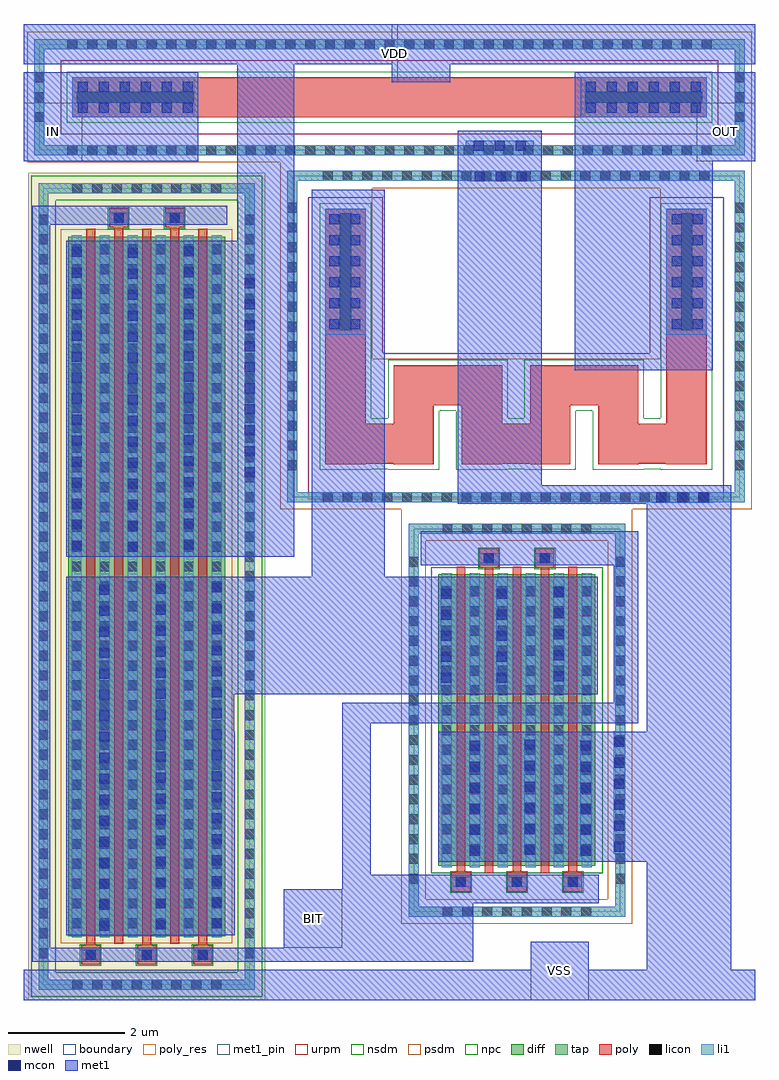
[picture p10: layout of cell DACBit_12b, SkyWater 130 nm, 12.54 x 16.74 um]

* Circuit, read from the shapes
.subckt DACBit_12b BIT IN OUT VDD VSS
XM1 VSS BIT n1 VSS sky130_fd_pr__nfet_01v8 w=5 l=0.15 m=5
XM2 n1 BIT VDD VDD sky130_fd_pr__pfet_01v8 w=12 l=0.15 m=5
XR3 OUT IN VSS sky130_fd_pr__res_xhigh_po w=0.69 l=6.6
XR4 n1 OUT VSS sky130_fd_pr__res_xhigh_po w=0.69 l=13.68
.ends

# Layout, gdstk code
from math import pi, radians
import gdstk
lib = gdstk.Library(unit=1e-6, precision=1e-09)
def R(c, l, rs):  # rectangles x0, y0, x1, y1
    for r in rs: c.add(gdstk.rectangle(r[:2], r[2:], *l))
def A(c, l, x, y, w, h, nx, ny, dx, dy):  # array of equal rectangles
    R(c, l, [(x+i*dx, y+j*dy, x+i*dx+w, y+j*dy+h) for i in range(nx) for j in range(ny)])
nwell = (64, 20)
diff = (65, 20)
tap = (65, 44)
poly_res = (66, 13)
poly = (66, 20)
licon = (66, 44)
li1 = (67, 20)
mcon = (67, 44)
met1_pin = (68, 16)
met1 = (68, 20)
urpm = (79, 20)
nsdm = (93, 44)
psdm = (94, 20)
npc = (95, 20)
boundary = (235, 4)

sky130_fd_pr__res_xhigh_ = lib.new_cell('sky130_fd_pr__res_xhigh_po_0p69_5AX4BB')
R(sky130_fd_pr__res_xhigh_, tap, [(-0.995,-6.09,0.995,-5.92), (-0.995,-5.92,-0.825,5.92), (0.825,-5.92,0.995,5.92), (-0.995,5.92,0.995,6.09)])
R(sky130_fd_pr__res_xhigh_, poly_res, [(-0.345,-3.36,0.345,3.36)])
R(sky130_fd_pr__res_xhigh_, poly, [(-0.345,-5.44,0.345,5.44)])
A(sky130_fd_pr__res_xhigh_, licon, -0.425, -6.09, 0.17, 0.17, 3, 2, 0.34, 12.01)
A(sky130_fd_pr__res_xhigh_, licon, -0.995, -5.525, 0.17, 0.17, 1, 33, 0, 0.34)
A(sky130_fd_pr__res_xhigh_, licon, 0.825, -5.525, 0.17, 0.17, 1, 33, 0, 0.34)
R(sky130_fd_pr__res_xhigh_, licon, [(-0.095,-5.36,0.095,-3.36), (-0.095,3.36,0.095,5.36)])
R(sky130_fd_pr__res_xhigh_, li1, [(-0.995,-6.09,0.995,-5.92), (-0.995,-5.92,-0.825,5.92), (0.825,-5.92,0.995,5.92), (-0.345,-5.44,0.345,-3.28), (-0.345,3.28,0.345,5.44), (-0.995,5.92,0.995,6.09)])
A(sky130_fd_pr__res_xhigh_, mcon, -0.265, -5.345, 0.17, 0.17, 1, 6, 0, 0.36)
A(sky130_fd_pr__res_xhigh_, mcon, 0.095, -5.345, 0.17, 0.17, 1, 6, 0, 0.36)
A(sky130_fd_pr__res_xhigh_, mcon, -0.265, 3.37, 0.17, 0.17, 1, 6, 0, 0.36)
A(sky130_fd_pr__res_xhigh_, mcon, 0.095, 3.37, 0.17, 0.17, 1, 6, 0, 0.36)
R(sky130_fd_pr__res_xhigh_, met1, [(-0.295,-5.41,0.295,-3.305), (-0.295,3.305,0.295,5.41)])
R(sky130_fd_pr__res_xhigh_, urpm, [(-0.635,-5.64,0.635,5.64)])
R(sky130_fd_pr__res_xhigh_, psdm, [(-1.12,-6.215,1.12,6.215)])
R(sky130_fd_pr__res_xhigh_, npc, [(-0.44,-5.535,0.44,5.535)])
R(sky130_fd_pr__res_xhigh_, boundary, [(-0.91,-6.005,0.91,6.005)])

c_sky130_fd_pr__res_xhigh_ = lib.new_cell('sky130_fd_pr__res_xhigh_po_0p69_ZTWKEZ')
R(c_sky130_fd_pr__res_xhigh_, tap, [(-3.92,-2.84,3.92,-2.67), (-3.92,-2.67,-3.75,2.67), (3.75,-2.67,3.92,2.67), (-3.92,2.67,3.92,2.84)])
A(c_sky130_fd_pr__res_xhigh_, poly_res, -2.1, 1.18, 0.69, 0.315, 4, 1, 1.17, 0)
A(c_sky130_fd_pr__res_xhigh_, poly_res, -3.27, 1.495, 1.86, 0.69, 3, 1, 2.34, 0)
A(c_sky130_fd_pr__res_xhigh_, poly_res, -3.27, 2.185, 0.69, 0.005, 6, 1, 1.17, 0)
R(c_sky130_fd_pr__res_xhigh_, poly_res, [(-3.27,-0.11,-2.58,1.495), (2.58,-0.11,3.27,1.495), (-2.1,0.49,-0.24,1.18), (0.24,0.49,2.1,1.18)])
A(c_sky130_fd_pr__res_xhigh_, poly, -2.1, 1.18, 0.69, 0.315, 4, 1, 1.17, 0)
A(c_sky130_fd_pr__res_xhigh_, poly, -3.27, 1.495, 1.86, 0.69, 3, 1, 2.34, 0)
A(c_sky130_fd_pr__res_xhigh_, poly, -3.27, 2.185, 0.69, 0.005, 6, 1, 1.17, 0)
R(c_sky130_fd_pr__res_xhigh_, poly, [(-3.27,-2.19,-2.58,1.495), (2.58,-2.19,3.27,1.495), (-2.1,0.49,-0.24,1.18), (0.24,0.49,2.1,1.18)])
A(c_sky130_fd_pr__res_xhigh_, licon, -3.315, -2.84, 0.17, 0.17, 20, 2, 0.34, 5.51)
A(c_sky130_fd_pr__res_xhigh_, licon, -3.92, -2.295, 0.17, 0.17, 1, 14, 0, 0.34)
A(c_sky130_fd_pr__res_xhigh_, licon, 3.75, -2.295, 0.17, 0.17, 1, 14, 0, 0.34)
R(c_sky130_fd_pr__res_xhigh_, licon, [(-3.02,-2.11,-2.83,-0.11), (2.83,-2.11,3.02,-0.11)])
R(c_sky130_fd_pr__res_xhigh_, li1, [(-3.92,-2.84,3.92,-2.67), (-3.92,-2.67,-3.75,2.67), (3.75,-2.67,3.92,2.67), (-3.27,-2.19,-2.58,-0.03), (2.58,-2.19,3.27,-0.03), (-3.92,2.67,3.92,2.84)])
R(c_sky130_fd_pr__res_xhigh_, urpm, [(-3.56,-2.39,-2.29,0.29), (2.29,-2.39,3.56,0.29), (-3.56,0.29,3.56,2.79)])
R(c_sky130_fd_pr__res_xhigh_, psdm, [(-4.045,-2.965,4.045,-2.545), (-4.045,-2.545,-2.47,0.38), (2.47,-2.545,4.045,0.38), (-4.045,0.38,4.045,2.965)])
A(c_sky130_fd_pr__res_xhigh_, npc, -2.195, 1.275, 0.88, 0.125, 4, 1, 1.17, 0)
A(c_sky130_fd_pr__res_xhigh_, npc, -3.365, 1.4, 2.05, 0.88, 3, 1, 2.34, 0)
A(c_sky130_fd_pr__res_xhigh_, npc, -3.365, 2.28, 0.88, 0.005, 6, 1, 1.17, 0)
R(c_sky130_fd_pr__res_xhigh_, npc, [(-3.365,-2.285,-2.485,1.4), (2.485,-2.285,3.365,1.4), (-2.195,0.395,-0.145,1.275), (0.145,0.395,2.195,1.275)])
R(c_sky130_fd_pr__res_xhigh_, boundary, [(-3.835,-2.755,3.835,2.755)])

sky130_fd_pr__pfet_01v8_ = lib.new_cell('sky130_fd_pr__pfet_01v8_5CSJH8')
R(sky130_fd_pr__pfet_01v8_, nwell, [(-2.035,-7.095,2.035,7.095)])
R(sky130_fd_pr__pfet_01v8_, diff, [(-1.345,-6,1.345,6)])
R(sky130_fd_pr__pfet_01v8_, tap, [(-1.855,-6.915,1.855,-6.745), (-1.855,-6.745,-1.685,6.745), (1.685,-6.745,1.855,6.745), (-1.855,6.745,1.855,6.915)])
A(sky130_fd_pr__pfet_01v8_, poly, -1.125, -6.485, 0.33, 0.33, 3, 1, 0.96, 0)
A(sky130_fd_pr__pfet_01v8_, poly, -1.035, -6.155, 0.15, 12.285, 3, 1, 0.96, 0)
R(sky130_fd_pr__pfet_01v8_, poly, [(-0.555,-6.13,-0.405,6.155), (0.405,-6.13,0.555,6.155), (-0.645,6.155,-0.315,6.485), (0.315,6.155,0.645,6.485)])
A(sky130_fd_pr__pfet_01v8_, licon, -1.275, -6.915, 0.17, 0.17, 8, 2, 0.34, 13.66)
A(sky130_fd_pr__pfet_01v8_, licon, -1.045, -6.405, 0.17, 0.17, 3, 1, 0.96, 0)
A(sky130_fd_pr__pfet_01v8_, licon, -1.855, -6.375, 0.17, 0.17, 1, 38, 0, 0.34)
A(sky130_fd_pr__pfet_01v8_, licon, 1.685, -6.375, 0.17, 0.17, 1, 38, 0, 0.34)
A(sky130_fd_pr__pfet_01v8_, licon, -1.285, -5.865, 0.17, 0.17, 6, 35, 0.48, 0.34)
R(sky130_fd_pr__pfet_01v8_, licon, [(-0.565,6.235,-0.395,6.405), (0.395,6.235,0.565,6.405)])
A(sky130_fd_pr__pfet_01v8_, li1, -1.125, -6.405, 0.33, 0.17, 3, 1, 0.96, 0)
A(sky130_fd_pr__pfet_01v8_, li1, -1.285, -6.02, 0.17, 12.04, 6, 1, 0.48, 0)
R(sky130_fd_pr__pfet_01v8_, li1, [(-1.855,-6.915,1.855,-6.745), (-1.855,-6.745,-1.685,6.745), (1.685,-6.745,1.855,6.745), (-0.645,6.235,-0.315,6.405), (0.315,6.235,0.645,6.405), (-1.855,6.745,1.855,6.915)])
A(sky130_fd_pr__pfet_01v8_, mcon, -1.045, -6.405, 0.17, 0.17, 3, 1, 0.96, 0)
R(sky130_fd_pr__pfet_01v8_, mcon, [(-0.565,6.235,-0.395,6.405), (0.395,6.235,0.565,6.405)])
A(sky130_fd_pr__pfet_01v8_, met1, -1.105, -6.435, 0.29, 0.23, 3, 1, 0.96, 0)
R(sky130_fd_pr__pfet_01v8_, met1, [(-0.625,6.205,-0.335,6.435), (0.335,6.205,0.625,6.435)])
R(sky130_fd_pr__pfet_01v8_, nsdm, [(-1.98,-7.04,1.98,-6.62), (-1.98,-6.62,-1.56,6.62), (1.56,-6.62,1.98,6.62), (-1.98,6.62,1.98,7.04)])
R(sky130_fd_pr__pfet_01v8_, psdm, [(-1.47,-6.125,1.47,6.125)])
A(sky130_fd_pr__pfet_01v8_, npc, -1.145, -6.505, 0.37, 0.37, 3, 1, 0.96, 0)
R(sky130_fd_pr__pfet_01v8_, npc, [(-0.665,6.135,-0.295,6.505), (0.295,6.135,0.665,6.505)])
R(sky130_fd_pr__pfet_01v8_, boundary, [(-1.77,-6.83,1.77,6.83)])

sky130_fd_pr__nfet_01v8_ = lib.new_cell('sky130_fd_pr__nfet_01v8_7FRVUR')
R(sky130_fd_pr__nfet_01v8_, diff, [(-1.345,-2.5,1.345,2.5)])
R(sky130_fd_pr__nfet_01v8_, tap, [(-1.855,-3.37,1.855,-3.2), (-1.855,-3.2,-1.685,3.2), (1.685,-3.2,1.855,3.2), (-1.855,3.2,1.855,3.37)])
A(sky130_fd_pr__nfet_01v8_, poly, -1.125, -2.94, 0.33, 0.33, 3, 1, 0.96, 0)
A(sky130_fd_pr__nfet_01v8_, poly, -1.035, -2.61, 0.15, 5.24, 3, 1, 0.96, 0)
R(sky130_fd_pr__nfet_01v8_, poly, [(-0.555,-2.63,-0.405,2.61), (0.405,-2.63,0.555,2.61), (-0.645,2.61,-0.315,2.94), (0.315,2.61,0.645,2.94)])
A(sky130_fd_pr__nfet_01v8_, licon, -1.275, -3.37, 0.17, 0.17, 8, 2, 0.34, 6.57)
A(sky130_fd_pr__nfet_01v8_, licon, -1.045, -2.86, 0.17, 0.17, 3, 1, 0.96, 0)
A(sky130_fd_pr__nfet_01v8_, licon, -1.855, -2.805, 0.17, 0.17, 1, 17, 0, 0.34)
A(sky130_fd_pr__nfet_01v8_, licon, 1.685, -2.805, 0.17, 0.17, 1, 17, 0, 0.34)
A(sky130_fd_pr__nfet_01v8_, licon, -1.285, -2.295, 0.17, 0.17, 6, 14, 0.48, 0.34)
R(sky130_fd_pr__nfet_01v8_, licon, [(-0.565,2.69,-0.395,2.86), (0.395,2.69,0.565,2.86)])
A(sky130_fd_pr__nfet_01v8_, li1, -1.125, -2.86, 0.33, 0.17, 3, 1, 0.96, 0)
A(sky130_fd_pr__nfet_01v8_, li1, -1.285, -2.52, 0.17, 5.04, 6, 1, 0.48, 0)
R(sky130_fd_pr__nfet_01v8_, li1, [(-1.855,-3.37,1.855,-3.2), (-1.855,-3.2,-1.685,3.2), (1.685,-3.2,1.855,3.2), (-0.645,2.69,-0.315,2.86), (0.315,2.69,0.645,2.86), (-1.855,3.2,1.855,3.37)])
A(sky130_fd_pr__nfet_01v8_, mcon, -1.045, -2.86, 0.17, 0.17, 3, 1, 0.96, 0)
R(sky130_fd_pr__nfet_01v8_, mcon, [(-0.565,2.69,-0.395,2.86), (0.395,2.69,0.565,2.86)])
A(sky130_fd_pr__nfet_01v8_, met1, -1.105, -2.89, 0.29, 0.23, 3, 1, 0.96, 0)
R(sky130_fd_pr__nfet_01v8_, met1, [(-0.625,2.66,-0.335,2.89), (0.335,2.66,0.625,2.89)])
R(sky130_fd_pr__nfet_01v8_, nsdm, [(-1.47,-2.625,1.47,2.625)])
R(sky130_fd_pr__nfet_01v8_, psdm, [(-1.98,-3.495,1.98,-3.075), (-1.98,-3.075,-1.56,3.075), (1.56,-3.075,1.98,3.075), (-1.98,3.075,1.98,3.495)])
A(sky130_fd_pr__nfet_01v8_, npc, -1.145, -2.96, 0.37, 0.37, 3, 1, 0.96, 0)
R(sky130_fd_pr__nfet_01v8_, npc, [(-0.665,2.59,-0.295,2.96), (0.295,2.59,0.665,2.96)])
R(sky130_fd_pr__nfet_01v8_, boundary, [(-1.77,-3.285,1.77,3.285)])

dacbit_12b = lib.new_cell('DACBit_12b')
R(dacbit_12b, li1, [(14.54,-5.5,14.71,0.45), (15.51,-5.48,15.68,0.47), (16.47,-5.46,16.64,0.49), (20.89,-4.22,21.08,-2.22), (22.79,-4.22,22.98,-2.22), (21.83,-4.2,22.02,-2.2), (23.37,-4.17,23.55,-2.07), (20.4,-1.38,20.59,0.51), (21.35,-1.38,21.54,0.51), (22.33,-1.35,22.52,0.54), (15.03,0.96,15.2,6.27), (14.07,0.98,14.24,6.29), (15.99,0.99,16.16,6.3), (24.01,1.85,25.07,2.03), (17.04,2.22,17.21,5.76), (18.48,4.81,19.03,6.81), (24.35,4.81,24.9,6.81), (20.85,7.36,22.01,7.53), (20.83,7.89,21.99,8.06)])
A(dacbit_12b, mcon, 14.54, -5.49, 0.17, 0.17, 1, 17, 0, 0.36)
A(dacbit_12b, mcon, 15.51, -5.47, 0.17, 0.17, 1, 17, 0, 0.36)
A(dacbit_12b, mcon, 16.47, -5.45, 0.17, 0.17, 1, 17, 0, 0.36)
A(dacbit_12b, mcon, 20.9, -4.205, 0.17, 0.17, 1, 6, 0, 0.36)
A(dacbit_12b, mcon, 22.8, -4.205, 0.17, 0.17, 1, 6, 0, 0.36)
A(dacbit_12b, mcon, 21.84, -4.185, 0.17, 0.17, 1, 6, 0, 0.36)
A(dacbit_12b, mcon, 23.375, -4.135, 0.17, 0.17, 1, 6, 0, 0.36)
A(dacbit_12b, mcon, 20.41, -1.24, 0.17, 0.17, 1, 5, 0, 0.36)
A(dacbit_12b, mcon, 21.36, -1.24, 0.17, 0.17, 1, 5, 0, 0.36)
A(dacbit_12b, mcon, 22.34, -1.21, 0.17, 0.17, 1, 5, 0, 0.36)
A(dacbit_12b, mcon, 15.03, 1.01, 0.17, 0.17, 1, 15, 0, 0.36)
A(dacbit_12b, mcon, 14.07, 1.03, 0.17, 0.17, 1, 15, 0, 0.36)
A(dacbit_12b, mcon, 15.99, 1.04, 0.17, 0.17, 1, 15, 0, 0.36)
A(dacbit_12b, mcon, 24.095, 1.855, 0.17, 0.17, 3, 1, 0.36, 0)
A(dacbit_12b, mcon, 17.04, 2.285, 0.17, 0.17, 1, 10, 0, 0.36)
A(dacbit_12b, mcon, 18.49, 4.825, 0.17, 0.17, 1, 6, 0, 0.36)
A(dacbit_12b, mcon, 18.85, 4.825, 0.17, 0.17, 1, 6, 0, 0.36)
A(dacbit_12b, mcon, 24.36, 4.825, 0.17, 0.17, 1, 6, 0, 0.36)
A(dacbit_12b, mcon, 24.72, 4.825, 0.17, 0.17, 1, 6, 0, 0.36)
A(dacbit_12b, mcon, 20.985, 7.36, 0.17, 0.17, 3, 1, 0.36, 0)
A(dacbit_12b, mcon, 20.965, 7.89, 0.17, 0.17, 3, 1, 0.36, 0)
R(dacbit_12b, met1_pin, [(21.94,-6.68,22.94,-5.68), (17.71,-5.78,18.71,-4.78), (13.25,7.71,14.25,8.71), (24.79,7.71,25.79,8.71), (19.56,9.06,19.66,10.06)])
R(dacbit_12b, met1, [(13.25,-6.68,25.79,-6.16), (21.94,-6.16,22.94,-5.68), (23.93,-6.16,25.38,-4.31), (13.39,-6.02,20.96,-5.78), (13.39,-5.78,13.7,6.62), (17.71,-5.78,20.96,-5.02), (13.98,-5.57,16.87,-2.08), (17.71,-5.02,23.105,-4.97), (17.71,-4.97,23.11,-4.78), (18.71,-4.78,23.11,-4.53), (18.71,-4.53,19.2,-1.93), (20.36,-4.31,25.38,-2.08), (13.98,-2.08,16.86,-1.44), (23.93,-2.08,25.38,1.83), (18.71,-1.93,23.79,-1.58), (23.37,-1.58,23.79,0.78), (13.98,-1.44,23.09,0.58), (18.19,0.58,19.44,7.22), (20.06,0.78,23.79,1.36), (13.98,0.92,17.89,6.34), (20.69,1.83,25.38,2.15), (20.69,2.15,22.13,8.23), (22.7,4.12,25.06,7.71), (16.91,6.34,17.89,9.37), (13.39,6.62,16.74,6.94), (13.25,7.71,16.24,9.23), (22.7,7.71,25.79,9.23), (19.56,9.06,20.56,9.37), (13.25,9.37,25.79,10.06)])
R(dacbit_12b, psdm, [(19.725,1.615,23.685,1.735), (17.645,7.665,25.735,7.685)])
dacbit_12b.add(gdstk.Reference(sky130_fd_pr__res_xhigh_, (19.52,8.805), rotation=3*pi/2))
dacbit_12b.add(gdstk.Reference(c_sky130_fd_pr__res_xhigh_, (21.69,4.7), rotation=pi))
dacbit_12b.add(gdstk.Reference(sky130_fd_pr__pfet_01v8_, (15.355,0.415)))
dacbit_12b.add(gdstk.Reference(sky130_fd_pr__nfet_01v8_, (21.705,-1.88)))
dacbit_12b.add(gdstk.Label('IN', (13.75,8.21), layer=68, texttype=5))
dacbit_12b.add(gdstk.Label('OUT', (25.29,8.21), layer=68, texttype=5))
dacbit_12b.add(gdstk.Label('VDD', (19.61,9.56), layer=68, texttype=5))
dacbit_12b.add(gdstk.Label('BIT', (18.21,-5.28), layer=68, texttype=5))
dacbit_12b.add(gdstk.Label('VSS', (22.44,-6.18), layer=68, texttype=5))

lib.write_gds('DACBit_12b.gds')
